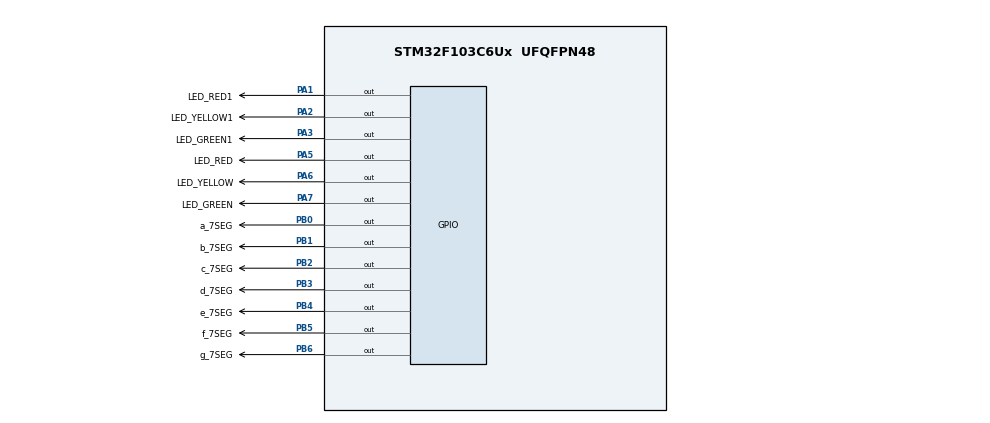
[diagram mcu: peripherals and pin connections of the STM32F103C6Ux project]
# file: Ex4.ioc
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Mcu.Family=STM32F1
Mcu.Name=STM32F103C6Ux
Mcu.Package=UFQFPN48
NVIC.PriorityGroup=NVIC_PRIORITYGROUP_4
PA1.GPIO_Label=LED_RED1
PA1.Signal=GPIO_Output
PA2.GPIO_Label=LED_YELLOW1
PA2.Signal=GPIO_Output
PA3.GPIO_Label=LED_GREEN1
PA3.Signal=GPIO_Output
PA5.GPIO_Label=LED_RED
PA5.Signal=GPIO_Output
PA6.GPIO_Label=LED_YELLOW
PA6.Signal=GPIO_Output
PA7.GPIO_Label=LED_GREEN
PA7.Signal=GPIO_Output
PB0.GPIO_Label=a_7SEG
PB0.Signal=GPIO_Output
PB1.GPIO_Label=b_7SEG
PB1.Signal=GPIO_Output
PB2.GPIO_Label=c_7SEG
PB2.Signal=GPIO_Output
PB3.GPIO_Label=d_7SEG
PB3.Signal=GPIO_Output
PB4.GPIO_Label=e_7SEG
PB4.Signal=GPIO_Output
PB5.GPIO_Label=f_7SEG
PB5.Signal=GPIO_Output
PB6.GPIO_Label=g_7SEG
PB6.Signal=GPIO_Output
ProjectManager.HeapSize=0x200
ProjectManager.StackSize=0x400
ProjectManager.TargetToolchain=STM32CubeIDE
RCC.APB1Freq_Value=8000000
RCC.APB2Freq_Value=8000000
VP_SYS_VS_ND.Mode=No_Debug
board=custom

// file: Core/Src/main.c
/* USER CODE BEGIN Header */
/**
  ******************************************************************************
  * @file           : main.c
  * @brief          : Main program body
  ******************************************************************************
  * @attention
  *
  * <h2><center>&copy; Copyright (c) 2022 STMicroelectronics.
  * All rights reserved.</center></h2>
  *
  * This software component is licensed by ST under BSD 3-Clause license,
  * the "License"; You may not use this file except in compliance with the
  * License. You may obtain a copy of the License at:
  *                        opensource.org/licenses/BSD-3-Clause
  *
  ******************************************************************************
  */
/* USER CODE END Header */
#include "main.h"

void SystemClock_Config(void);
static void MX_GPIO_Init(void);

/* USER CODE BEGIN 0 */
void traffic_light(char state){
	  if (state == 'g'){ 	//green turns on
		  HAL_GPIO_WritePin ( LED_GREEN_GPIO_Port , LED_GREEN_Pin ,
		  GPIO_PIN_RESET ) ;
		  HAL_GPIO_WritePin ( LED_RED_GPIO_Port , LED_RED_Pin ,
		  GPIO_PIN_SET ) ;
		  HAL_GPIO_WritePin ( LED_YELLOW_GPIO_Port , LED_YELLOW_Pin ,
		  GPIO_PIN_SET ) ;
	  }

	  if (state == 'y'){ 	//yellow turns on
		  HAL_GPIO_WritePin ( LED_YELLOW_GPIO_Port , LED_YELLOW_Pin ,
		  GPIO_PIN_RESET ) ;
		  HAL_GPIO_WritePin ( LED_GREEN_GPIO_Port , LED_GREEN_Pin ,
		  GPIO_PIN_SET ) ;
		  HAL_GPIO_WritePin ( LED_RED_GPIO_Port , LED_RED_Pin ,
		  GPIO_PIN_SET ) ;
	  }

	  if( state == 'r') { 	//red turns on
		  HAL_GPIO_WritePin ( LED_RED_GPIO_Port , LED_RED_Pin ,
		  GPIO_PIN_RESET ) ;
		  HAL_GPIO_WritePin ( LED_YELLOW_GPIO_Port , LED_YELLOW_Pin ,
		  GPIO_PIN_SET ) ;
		  HAL_GPIO_WritePin ( LED_GREEN_GPIO_Port , LED_GREEN_Pin ,
		  GPIO_PIN_SET ) ;
	  }
}

void traffic_light1(char state){
	  if (state == 'g'){ 	//green turns on
		  HAL_GPIO_WritePin ( LED_GREEN1_GPIO_Port , LED_GREEN1_Pin ,
		  GPIO_PIN_RESET ) ;
		  HAL_GPIO_WritePin ( LED_RED1_GPIO_Port , LED_RED1_Pin ,
		  GPIO_PIN_SET ) ;
		  HAL_GPIO_WritePin ( LED_YELLOW1_GPIO_Port , LED_YELLOW1_Pin ,
		  GPIO_PIN_SET ) ;
	  }

	  if (state == 'y'){ 	//yellow turns on
		  HAL_GPIO_WritePin ( LED_YELLOW1_GPIO_Port , LED_YELLOW1_Pin ,
		  GPIO_PIN_RESET ) ;
		  HAL_GPIO_WritePin ( LED_GREEN1_GPIO_Port , LED_GREEN1_Pin ,
		  GPIO_PIN_SET ) ;
		  HAL_GPIO_WritePin ( LED_RED1_GPIO_Port , LED_RED1_Pin ,
		  GPIO_PIN_SET ) ;
	  }

	  if( state == 'r') { 	//red turns on
		  HAL_GPIO_WritePin ( LED_RED1_GPIO_Port , LED_RED1_Pin ,
		  GPIO_PIN_RESET ) ;
		  HAL_GPIO_WritePin ( LED_YELLOW1_GPIO_Port , LED_YELLOW1_Pin ,
		  GPIO_PIN_SET ) ;
		  HAL_GPIO_WritePin ( LED_GREEN1_GPIO_Port , LED_GREEN1_Pin ,
		  GPIO_PIN_SET ) ;
	  }
}

void display7SEG (int counter){
	HAL_GPIO_WritePin(GPIOB, a_7SEG_Pin|b_7SEG_Pin|c_7SEG_Pin|d_7SEG_Pin
		  			  		 |e_7SEG_Pin|f_7SEG_Pin|g_7SEG_Pin, 0);
	switch (counter){
		case 0:
			HAL_GPIO_WritePin(GPIOB, g_7SEG_Pin, 1);
	  		break;

		case 1:
			HAL_GPIO_WritePin(GPIOB, a_7SEG_Pin|d_7SEG_Pin|e_7SEG_Pin|f_7SEG_Pin|g_7SEG_Pin, 1);
	  		break;

		case 2:
	  		HAL_GPIO_WritePin(GPIOB, c_7SEG_Pin|f_7SEG_Pin, 1);
	  		break;

	  	  case 3:
	  		HAL_GPIO_WritePin(GPIOB, e_7SEG_Pin|f_7SEG_Pin, 1);
	  		break;

	  	  case 4:
	  		HAL_GPIO_WritePin(GPIOB, a_7SEG_Pin|d_7SEG_Pin|e_7SEG_Pin, 1);
	  		break;

	  	  case 5:
	  		HAL_GPIO_WritePin(GPIOB, b_7SEG_Pin|e_7SEG_Pin, 1);
	  		break;

	  	  case 6:
	  		HAL_GPIO_WritePin(GPIOB, b_7SEG_Pin, 1);
	  		break;

	  	  case 7:
	  		HAL_GPIO_WritePin(GPIOB, d_7SEG_Pin|e_7SEG_Pin|f_7SEG_Pin|g_7SEG_Pin, 1);
	  		break;

	  	  case 8:
	  		break;

	  	  case 9:
	  		HAL_GPIO_WritePin(GPIOB, e_7SEG_Pin, 1);
	  		break;

	  	  default:
	  		HAL_GPIO_WritePin(GPIOB, a_7SEG_Pin|b_7SEG_Pin|c_7SEG_Pin|d_7SEG_Pin
	  			  		             |e_7SEG_Pin|f_7SEG_Pin|g_7SEG_Pin, 1);
	  		break;
	  }
}

/* USER CODE END 0 */

int main(void)
{

  /* MCU Configuration--------------------------------------------------------*/

  /* Reset of all peripherals, Initializes the Flash interface and the Systick. */
  HAL_Init();

  /* Configure the system clock */
  SystemClock_Config();

  /* Initialize all configured peripherals */
  MX_GPIO_Init();

  /* Infinite loop */
  /* USER CODE BEGIN WHILE */
  int counter = 0;
  char state = 'r';
  char state1 = 'g';
  while (1)
  {
	  switch (counter) {
		case 3:
			state1 = 'y';
			break;
		case 5:
			state = 'g';
			state1 = 'r';
			break;
		case 8:
			state = 'y';
			break;
		case 10:
			state = 'r';
			state1 = 'g';
			counter = 0;
			break;
		default:
			state = state;
			state1 = state1;
			break;
	  }
	  traffic_light(state);
	  traffic_light1(state1);
	  display7SEG (counter++) ;
	  HAL_Delay(1000);
    /* USER CODE END WHILE */

  }
}

void SystemClock_Config(void)
{
  RCC_OscInitTypeDef RCC_OscInitStruct = {0};
  RCC_ClkInitTypeDef RCC_ClkInitStruct = {0};

  /** Initializes the RCC Oscillators according to the specified parameters
  * in the RCC_OscInitTypeDef structure.
  */
  RCC_OscInitStruct.OscillatorType = RCC_OSCILLATORTYPE_HSI;
  RCC_OscInitStruct.HSIState = RCC_HSI_ON;
  RCC_OscInitStruct.HSICalibrationValue = RCC_HSICALIBRATION_DEFAULT;
  RCC_OscInitStruct.PLL.PLLState = RCC_PLL_NONE;
  if (HAL_RCC_OscConfig(&RCC_OscInitStruct) != HAL_OK)
  {
    Error_Handler();
  }
  /** Initializes the CPU, AHB and APB buses clocks
  */
  RCC_ClkInitStruct.ClockType = RCC_CLOCKTYPE_HCLK|RCC_CLOCKTYPE_SYSCLK
                              |RCC_CLOCKTYPE_PCLK1|RCC_CLOCKTYPE_PCLK2;
  RCC_ClkInitStruct.SYSCLKSource = RCC_SYSCLKSOURCE_HSI;
  RCC_ClkInitStruct.AHBCLKDivider = RCC_SYSCLK_DIV1;
  RCC_ClkInitStruct.APB1CLKDivider = RCC_HCLK_DIV1;
  RCC_ClkInitStruct.APB2CLKDivider = RCC_HCLK_DIV1;

  if (HAL_RCC_ClockConfig(&RCC_ClkInitStruct, FLASH_LATENCY_0) != HAL_OK)
  {
    Error_Handler();
  }
}

static void MX_GPIO_Init(void)
{
  GPIO_InitTypeDef GPIO_InitStruct = {0};

  /* GPIO Ports Clock Enable */
  __HAL_RCC_GPIOA_CLK_ENABLE();
  __HAL_RCC_GPIOB_CLK_ENABLE();

  /*Configure GPIO pin Output Level */
  HAL_GPIO_WritePin(GPIOA, LED_RED1_Pin|LED_YELLOW1_Pin|LED_GREEN1_Pin|LED_RED_Pin
                          |LED_YELLOW_Pin|LED_GREEN_Pin, GPIO_PIN_RESET);

  /*Configure GPIO pin Output Level */
  HAL_GPIO_WritePin(GPIOB, a_7SEG_Pin|b_7SEG_Pin|c_7SEG_Pin|d_7SEG_Pin
                          |e_7SEG_Pin|f_7SEG_Pin|g_7SEG_Pin, GPIO_PIN_RESET);

  /*Configure GPIO pins : LED_RED1_Pin LED_YELLOW1_Pin LED_GREEN1_Pin LED_RED_Pin
                           LED_YELLOW_Pin LED_GREEN_Pin */
  GPIO_InitStruct.Pin = LED_RED1_Pin|LED_YELLOW1_Pin|LED_GREEN1_Pin|LED_RED_Pin
                          |LED_YELLOW_Pin|LED_GREEN_Pin;
  GPIO_InitStruct.Mode = GPIO_MODE_OUTPUT_PP;
  GPIO_InitStruct.Pull = GPIO_NOPULL;
  GPIO_InitStruct.Speed = GPIO_SPEED_FREQ_LOW;
  HAL_GPIO_Init(GPIOA, &GPIO_InitStruct);

  /*Configure GPIO pins : a_7SEG_Pin b_7SEG_Pin c_7SEG_Pin d_7SEG_Pin
                           e_7SEG_Pin f_7SEG_Pin g_7SEG_Pin */
  GPIO_InitStruct.Pin = a_7SEG_Pin|b_7SEG_Pin|c_7SEG_Pin|d_7SEG_Pin
                          |e_7SEG_Pin|f_7SEG_Pin|g_7SEG_Pin;
  GPIO_InitStruct.Mode = GPIO_MODE_OUTPUT_PP;
  GPIO_InitStruct.Pull = GPIO_NOPULL;
  GPIO_InitStruct.Speed = GPIO_SPEED_FREQ_LOW;
  HAL_GPIO_Init(GPIOB, &GPIO_InitStruct);

}

void Error_Handler(void)
{
  __disable_irq();
  while (1)
  {
  }
}

/************************ (C) COPYRIGHT STMicroelectronics *****END OF FILE****/
